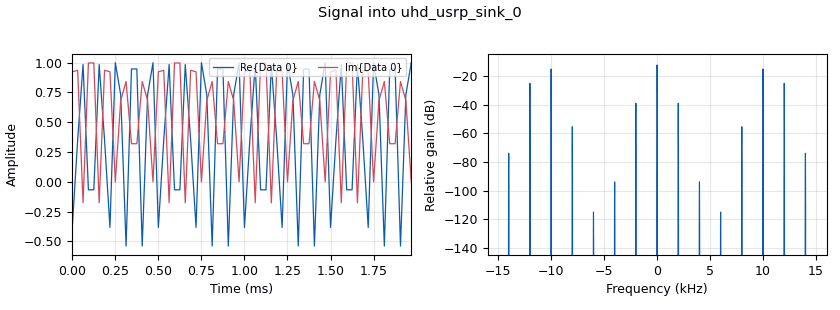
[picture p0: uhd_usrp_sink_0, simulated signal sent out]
options:
  parameters:
    generate_options: qt_gui
    id: Fmtx
    output_language: python
    title: Not titled yet
  states: {}

blocks:
- name: deltaf
  id: variable
  parameters:
    value: 10e3
  states: {}
- name: samp_rate
  id: variable
  parameters:
    value: '32000'
  states: {}
- name: analog_frequency_modulator_fc_0
  id: analog_frequency_modulator_fc
  parameters:
    sensitivity: 2*np.pi*deltaf/samp_rate
  states: {}
- name: analog_sig_source_x_0
  id: analog_sig_source_x
  parameters:
    amp: '1'
    freq: 10e3
    offset: '0'
    phase: '0'
    samp_rate: samp_rate
    type: float
    waveform: analog.GR_COS_WAVE
  states: {}
- name: import_0
  id: import
  parameters:
    imports: import numpy as np
  states: {}
- name: uhd_usrp_sink_0
  id: uhd_usrp_sink
  parameters:
    ant0: '"TX/RX"'
    center_freq0: '0'
    gain0: '0'
    samp_rate: samp_rate
    sync: sync
    type: fc32
  states: {}

connections:
- [analog_frequency_modulator_fc_0, '0', uhd_usrp_sink_0, '0']
- [analog_sig_source_x_0, '0', analog_frequency_modulator_fc_0, '0']

metadata:
  file_format: 1
  grc_version: 3.10.5.1
